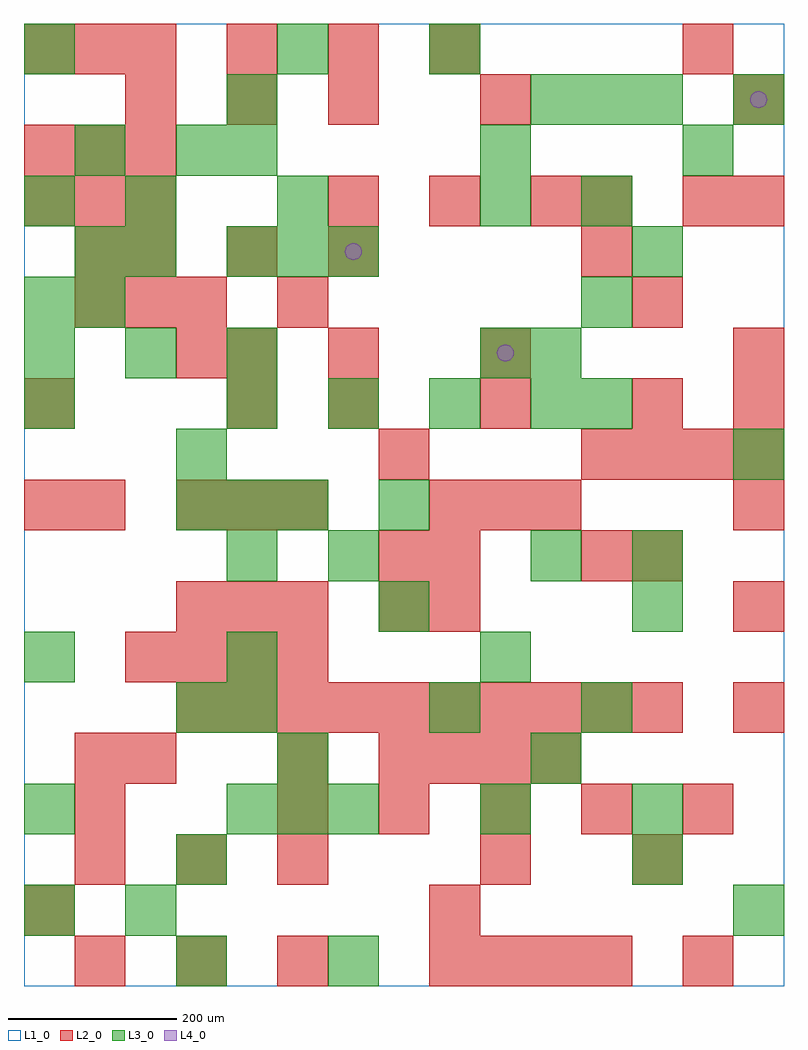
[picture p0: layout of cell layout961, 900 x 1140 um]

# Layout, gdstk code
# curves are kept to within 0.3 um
import gdstk
lib = gdstk.Library(unit=1e-6, precision=1e-09)
def R(c, l, rs):  # rectangles x0, y0, x1, y1
    for r in rs: c.add(gdstk.rectangle(r[:2], r[2:], *l))
def A(c, l, x, y, w, h, nx, ny, dx, dy):  # array of equal rectangles
    R(c, l, [(x+i*dx, y+j*dy, x+i*dx+w, y+j*dy+h) for i in range(nx) for j in range(ny)])
def P(c, l, *ps):  # polygons
    for p in ps: c.add(gdstk.Polygon(p, *l))
L1_0 = (1, 0)
L2_0 = (2, 0)
L3_0 = (3, 0)
L4_0 = (4, 0)

layout961 = lib.new_cell('layout961')
R(layout961, L1_0, [(0,0,900,1140)])
A(layout961, L2_0, 60, 0, 60, 60, 3, 2, 120, 120)
A(layout961, L2_0, 480, 0, 60, 60, 4, 1, 60, 0)
A(layout961, L2_0, 300, 180, 60, 60, 5, 1, 120, 0)
A(layout961, L2_0, 60, 240, 60, 60, 1, 3, 0, 300)
A(layout961, L2_0, 420, 240, 60, 60, 4, 1, 60, 0)
A(layout961, L2_0, 180, 300, 60, 60, 10, 1, 60, 0)
A(layout961, L2_0, 840, 300, 60, 60, 1, 4, 0, 120)
A(layout961, L2_0, 120, 360, 60, 60, 4, 1, 60, 0)
A(layout961, L2_0, 180, 420, 60, 60, 3, 2, 60, 120)
A(layout961, L2_0, 480, 540, 60, 60, 3, 1, 60, 0)
A(layout961, L2_0, 660, 600, 60, 60, 4, 1, 60, 0)
A(layout961, L2_0, 360, 660, 60, 60, 3, 1, 180, 0)
A(layout961, L2_0, 60, 780, 60, 60, 3, 1, 60, 0)
A(layout961, L2_0, 120, 840, 60, 60, 3, 2, 120, 180)
A(layout961, L2_0, 0, 900, 60, 60, 3, 2, 60, 60)
A(layout961, L2_0, 360, 900, 60, 60, 3, 1, 120, 0)
A(layout961, L2_0, 0, 1080, 60, 60, 3, 1, 60, 0)
A(layout961, L2_0, 240, 1080, 60, 60, 3, 1, 120, 0)
R(layout961, L2_0, [(780,0,840,60), (0,60,60,120), (480,60,540,120), (540,120,600,180), (720,120,780,180), (60,180,120,240), (120,240,180,300), (300,240,360,300), (420,420,480,480), (480,420,540,480), (420,480,480,540), (480,480,540,540), (660,480,720,540), (720,480,780,540), (0,540,60,600), (420,600,480,660), (0,660,60,720), (240,660,300,720), (180,720,240,780), (240,720,300,780), (360,720,420,780), (540,720,600,780), (840,720,900,780), (300,780,360,840), (720,780,780,840), (660,840,720,900), (660,900,720,960), (780,900,840,960), (840,900,900,960), (540,1020,600,1080), (840,1020,900,1080), (780,1080,840,1140)])
A(layout961, L3_0, 240, 180, 60, 60, 3, 2, 60, 660)
A(layout961, L3_0, 600, 240, 60, 60, 1, 3, 0, 240)
A(layout961, L3_0, 180, 540, 60, 60, 3, 1, 60, 0)
A(layout961, L3_0, 0, 660, 60, 60, 1, 3, 0, 120)
A(layout961, L3_0, 240, 660, 60, 60, 4, 1, 120, 0)
A(layout961, L3_0, 660, 660, 60, 60, 1, 3, 0, 120)
A(layout961, L3_0, 0, 720, 60, 60, 3, 1, 120, 0)
A(layout961, L3_0, 600, 1020, 60, 60, 3, 1, 60, 0)
R(layout961, L3_0, [(180,0,240,60), (360,0,420,60), (0,60,60,120), (120,60,180,120), (840,60,900,120), (180,120,240,180), (720,120,780,180), (0,180,60,240), (540,180,600,240), (720,180,780,240), (300,240,360,300), (180,300,240,360), (240,300,300,360), (480,300,540,360), (660,300,720,360), (0,360,60,420), (240,360,300,420), (540,360,600,420), (420,420,480,480), (720,420,780,480), (240,480,300,540), (360,480,420,540), (720,480,780,540), (420,540,480,600), (180,600,240,660), (840,600,900,660), (540,720,600,780), (60,780,120,840), (60,840,120,900), (120,840,180,900), (720,840,780,900), (120,900,180,960), (300,900,360,960), (540,900,600,960), (60,960,120,1020), (180,960,240,1020), (240,960,300,1020), (540,960,600,1020), (780,960,840,1020), (240,1020,300,1080), (840,1020,900,1080), (0,1080,60,1140), (300,1080,360,1140), (480,1080,540,1140)])
P(layout961, L4_0, [(400,870),(399.239,873.827),(397.071,877.071),(393.827,879.239),(390,880),(386.173,879.239),(382.929,877.071),(380.761,873.827),(380,870),(380.761,866.173),(382.929,862.929),(386.173,860.761),(390,860),(393.827,860.761),(397.071,862.929),(399.239,866.173)],
  [(580,750),(579.239,753.827),(577.071,757.071),(573.827,759.239),(570,760),(566.173,759.239),(562.929,757.071),(560.761,753.827),(560,750),(560.761,746.173),(562.929,742.929),(566.173,740.761),(570,740),(573.827,740.761),(577.071,742.929),(579.239,746.173)],
  [(880,1050),(879.239,1053.827),(877.071,1057.071),(873.827,1059.239),(870,1060),(866.173,1059.239),(862.929,1057.071),(860.761,1053.827),(860,1050),(860.761,1046.173),(862.929,1042.929),(866.173,1040.761),(870,1040),(873.827,1040.761),(877.071,1042.929),(879.239,1046.173)])

lib.write_gds('layout961.gds')
